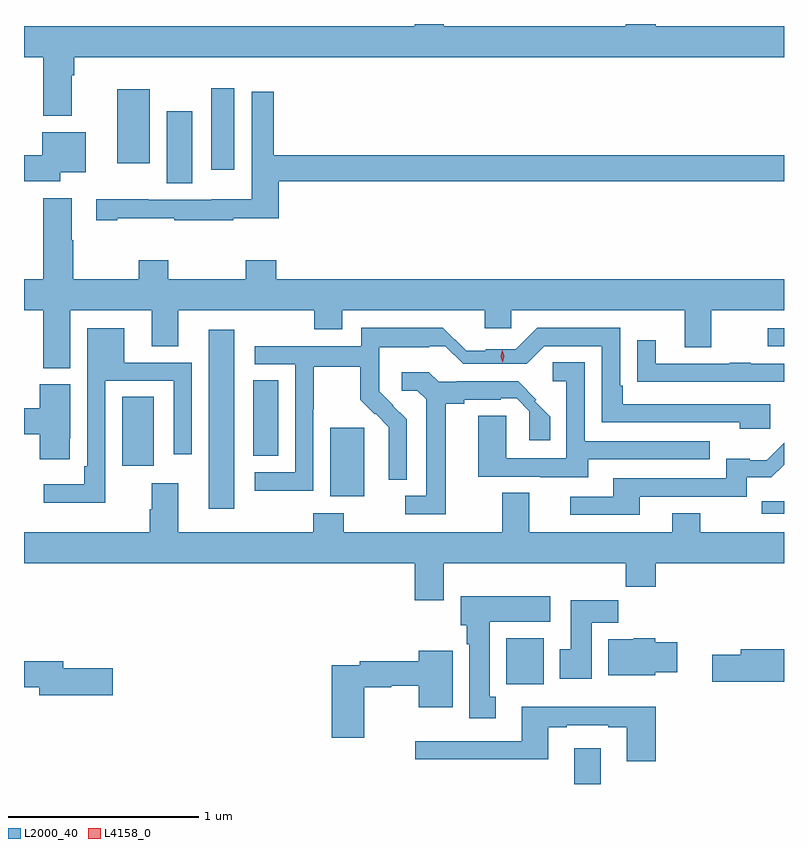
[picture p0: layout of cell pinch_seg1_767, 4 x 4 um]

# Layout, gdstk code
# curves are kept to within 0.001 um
import gdstk
lib = gdstk.Library(unit=1e-6, precision=1e-09)
def R(c, l, rs):  # rectangles x0, y0, x1, y1
    for r in rs: c.add(gdstk.rectangle(r[:2], r[2:], *l))
def P(c, l, *ps):  # polygons
    for p in ps: c.add(gdstk.Polygon(p, *l))
L2000_40 = (2000, 40)
L4158_0 = (4158, 0)

pinch_seg1_767 = lib.new_cell('pinch_seg1_767')
R(pinch_seg1_767, L2000_40, [(612.383,551.903,612.523,552.091), (612.026,552.428,612.223,552.67), (613.371,553.326,613.487,553.39), (610.46,553.353,610.594,554.293), (611.099,553.418,611.278,553.779), (610.004,553.578,610.171,553.94), (610.694,553.63,610.825,554.027), (613.401,554.208,613.487,554.301), (610.238,555.064,610.372,555.445), (610.472,555.135,610.594,555.565), (609.977,555.17,610.15,555.559)])
P(pinch_seg1_767, L2000_40, [(609.739,555.632),(609.752,555.632),(609.752,555.728),(613.487,555.728),(613.487,555.892),(612.812,555.892),(612.812,555.903),(612.655,555.903),(612.655,555.892),(611.695,555.892),(611.695,555.903),(611.543,555.903),(611.543,555.892),(609.487,555.892),(609.487,555.728),(609.587,555.728),(609.587,555.419),(609.739,555.419)],
  [(609.979,554.881),(610.279,554.881),(610.279,554.871),(610.589,554.871),(610.589,554.881),(610.829,554.881),(610.829,555.076),(613.487,555.076),(613.487,555.212),(610.802,555.212),(610.802,555.547),(610.686,555.547),(610.686,554.98),(610.476,554.98),(610.476,554.979),(610.142,554.979),(610.142,554.981),(609.867,554.981),(609.867,554.871),(609.979,554.871)],
  [(609.678,555.122),(609.811,555.122),(609.811,555.334),(609.584,555.334),(609.584,555.212),(609.487,555.212),(609.487,555.076),(609.678,555.076)],
  [(609.73,554.396),(610.16,554.396),(610.16,554.206),(610.3,554.206),(610.3,554.396),(611.014,554.396),(611.014,554.297),(611.161,554.297),(611.161,554.396),(611.912,554.396),(611.912,554.303),(612.051,554.303),(612.051,554.396),(612.965,554.396),(612.965,554.202),(613.105,554.202),(613.105,554.396),(613.487,554.396),(613.487,554.56),(610.814,554.56),(610.814,554.659),(610.654,554.659),(610.654,554.56),(610.245,554.56),(610.245,554.659),(610.09,554.659),(610.09,554.56),(609.747,554.56),(609.747,554.765),(609.739,554.765),(609.739,554.986),(609.587,554.986),(609.587,554.56),(609.487,554.56),(609.487,554.396),(609.587,554.396),(609.587,554.092),(609.73,554.092)],
  [(611.01,553.876),(611.013,553.876),(611.013,554.1),(611.257,554.1),(611.257,553.925),(611.334,553.848),(611.337,553.851),(611.408,553.781),(611.408,553.658),(611.406,553.658),(611.406,553.504),(611.502,553.504),(611.502,553.822),(611.356,553.97),(611.356,554.067),(611.358,554.067),(611.358,554.201),(611.621,554.201),(611.621,554.208),(611.705,554.208),(611.798,554.115),(612.132,554.115),(612.225,554.208),(612.528,554.208),(612.528,553.806),(613.253,553.806),(613.253,553.773),(613.414,553.773),(613.414,553.902),(612.637,553.902),(612.637,553.999),(612.624,553.999),(612.624,554.304),(612.189,554.304),(612.076,554.191),(611.916,554.191),(611.916,554.182),(611.815,554.182),(611.692,554.305),(611.262,554.305),(611.262,554.208),(610.701,554.208),(610.701,554.112),(610.914,554.112),(610.914,553.545),(610.701,553.545),(610.701,553.447),(611.01,553.447)],
  [(609.915,554.025),(610.275,554.025),(610.275,553.638),(610.371,553.638),(610.371,554.121),(610.015,554.121),(610.015,554.302),(609.819,554.302),(609.819,553.576),(609.803,553.576),(609.803,553.48),(609.591,553.48),(609.591,553.382),(609.915,553.382)],
  [(613.487,554.115),(613.313,554.115),(613.313,554.12),(613.201,554.12),(613.201,554.115),(612.811,554.115),(612.811,554.239),(612.715,554.239),(612.715,554.02),(612.817,554.02),(612.817,554.019),(613.487,554.019)],
  [(612.457,553.611),(613.097,553.611),(613.097,553.707),(612.438,553.707),(612.438,554.123),(612.27,554.123),(612.27,554.022),(612.342,554.022),(612.342,553.617),(612.025,553.617),(612.025,553.841),(611.879,553.841),(611.879,553.521),(612.203,553.521),(612.203,553.517),(612.457,553.517)],
  [(611.707,553.904),(611.803,553.904),(611.803,553.926),(611.996,553.926),(611.996,553.932),(612.081,553.932),(612.147,553.866),(612.147,553.713),(612.257,553.713),(612.257,553.835),(612.175,553.918),(612.183,553.926),(612.087,554.022),(611.764,554.022),(611.764,554.019),(611.67,554.019),(611.618,554.071),(611.475,554.071),(611.475,553.974),(611.556,553.974),(611.603,553.927),(611.603,553.419),(611.493,553.419),(611.493,553.323),(611.707,553.323)],
  [(609.729,553.723),(609.73,553.723),(609.73,554.007),(609.569,554.007),(609.569,553.88),(609.487,553.88),(609.487,553.744),(609.569,553.744),(609.569,553.611),(609.729,553.611)],
  [(612.727,553.416),(613.291,553.416),(613.291,553.517),(613.421,553.517),(613.487,553.583),(613.487,553.699),(613.396,553.608),(613.307,553.608),(613.307,553.615),(613.182,553.615),(613.182,553.512),(612.587,553.512),(612.587,553.416),(612.363,553.416),(612.363,553.32),(612.727,553.32)],
  [(611.695,553.064),(612.655,553.064),(612.655,552.94),(612.812,552.94),(612.812,553.064),(613.487,553.064),(613.487,553.228),(613.047,553.228),(613.047,553.327),(612.899,553.327),(612.899,553.228),(612.145,553.228),(612.145,553.436),(612.005,553.436),(612.005,553.228),(611.169,553.228),(611.169,553.327),(611.009,553.327),(611.009,553.228),(610.3,553.228),(610.3,553.486),(610.16,553.486),(610.16,553.349),(610.148,553.349),(610.148,553.228),(609.487,553.228),(609.487,553.064),(611.543,553.064),(611.543,552.87),(611.695,552.87)],
  [(611.971,552.362),(611.938,552.362),(611.938,552.758),(612.256,552.758),(612.256,552.892),(611.786,552.892),(611.786,552.738),(611.816,552.738),(611.816,552.638),(611.831,552.638),(611.831,552.249),(611.971,552.249)],
  [(612.475,552.752),(612.614,552.752),(612.614,552.871),(612.365,552.871),(612.365,552.612),(612.308,552.612),(612.308,552.456),(612.475,552.456)],
  [(612.81,552.491),(612.925,552.491),(612.925,552.649),(612.81,552.649),(612.81,552.67),(612.696,552.67),(612.696,552.664),(612.563,552.664),(612.563,552.476),(612.81,552.476)],
  [(613.487,552.612),(613.259,552.612),(613.259,552.582),(613.11,552.582),(613.11,552.44),(613.487,552.44)],
  [(611.278,552.412),(611.421,552.412),(611.421,552.42),(611.564,552.42),(611.564,552.308),(611.743,552.308),(611.743,552.604),(611.564,552.604),(611.564,552.548),(611.254,552.548),(611.254,552.528),(611.108,552.528),(611.108,552.147),(611.278,552.147)],
  [(609.955,552.512),(609.694,552.512),(609.694,552.548),(609.487,552.548),(609.487,552.412),(609.566,552.412),(609.566,552.37),(609.955,552.37)],
  [(612.812,552.31),(612.107,552.31),(612.107,552.129),(611.547,552.129),(611.547,552.032),(612.247,552.032),(612.247,552.201),(612.343,552.201),(612.343,552.213),(612.563,552.213),(612.563,552.201),(612.659,552.201),(612.659,552.024),(612.812,552.024)])
P(pinch_seg1_767, L4158_0, [(612.006,554.122),(611.995,554.153),(612.004,554.185),(612.004,554.186),(612.004,554.185),(612.015,554.154),(612.007,554.122),(612.007,554.122)])

lib.write_gds('pinch_seg1_767.gds')
